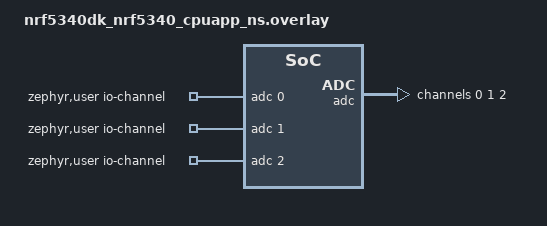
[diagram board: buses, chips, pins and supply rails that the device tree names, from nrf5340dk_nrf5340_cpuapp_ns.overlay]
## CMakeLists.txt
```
#
# Copyright (c) 2018 Nordic Semiconductor
#
# SPDX-License-Identifier: LicenseRef-Nordic-5-Clause
#
cmake_minimum_required(VERSION 3.20.0)

set(DTC_OVERLAY_FILE
    "${CMAKE_CURRENT_SOURCE_DIR}/nrf5340dk_nrf5340_cpuapp_ns.overlay"
)

find_package(Zephyr REQUIRED HINTS $ENV{ZEPHYR_BASE})
project(NONE)

# NORDIC SDK APP START
target_sources(app PRIVATE
  src/main.c
  src/my_lbs.c
  src/adc.c
)

# NORDIC SDK APP END
zephyr_library_include_directories(.)
```

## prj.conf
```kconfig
#
# Copyright (c) 2018 Nordic Semiconductor
#
# SPDX-License-Identifier: LicenseRef-Nordic-5-Clause
#

# Logger module
CONFIG_LOG=y

# Button and LED library
CONFIG_DK_LIBRARY=y

# Bluetooth LE
CONFIG_BT=y
CONFIG_BT_PERIPHERAL=y
CONFIG_BT_DEVICE_NAME="MY_LBS2_VIM"

# Increase stack size for the main thread and System Workqueue
CONFIG_SYSTEM_WORKQUEUE_STACK_SIZE=2048
CONFIG_MAIN_STACK_SIZE=2048

CONFIG_ADC=y
```

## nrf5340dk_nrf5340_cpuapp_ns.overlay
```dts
// To get started, press Ctrl+Space to bring up the completion menu and view the available nodes.

// You can also use the buttons in the sidebar to perform actions on nodes.
// Actions currently available include:

// * Enabling / disabling the node
// * Adding the bus to a bus
// * Removing the node
// * Connecting ADC channels

// For more help, browse the DeviceTree documentation at https://docs.zephyrproject.org/latest/guides/dts/index.html
// You can also visit the nRF DeviceTree extension documentation at https://nrfconnect.github.io/vscode-nrf-connect/devicetree/nrfdevicetree.html


/{
	zephyr,user {
		io-channels = <&adc 0>, <&adc 1>, <&adc 2>;
	};
};



&adc {
	status = "okay";
	#address-cells = <1>;
	#size-cells = <0>;

	channel@0 {
		reg = <0>;
		zephyr,gain = "ADC_GAIN_1_6";
		zephyr,reference = "ADC_REF_INTERNAL";
		zephyr,acquisition-time = <ADC_ACQ_TIME_DEFAULT>;
		zephyr,input-positive = <NRF_SAADC_AIN0>; /* P0.03 */
		zephyr,resolution = <12>;
	};

	channel@1 {
		reg = <1>;
		zephyr,gain = "ADC_GAIN_1_6";
		zephyr,reference = "ADC_REF_INTERNAL";
		zephyr,acquisition-time = <ADC_ACQ_TIME_DEFAULT>;
		zephyr,input-positive = <NRF_SAADC_AIN1>;
		zephyr,resolution = <12>;
		//zephyr,oversampling = <8>;
	};

	channel@2 {
		reg = <2>;
		zephyr,gain = "ADC_GAIN_1_6";
		zephyr,reference = "ADC_REF_INTERNAL";
		zephyr,acquisition-time = <ADC_ACQ_TIME_DEFAULT>;
		zephyr,input-positive = <NRF_SAADC_AIN2>;
		zephyr,resolution = <12>;
		//zephyr,oversampling = <8>;
	};


};
```

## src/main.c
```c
/*
 * Copyright (c) 2023 Nordic Semiconductor ASA
 *
 * SPDX-License-Identifier: LicenseRef-Nordic-5-Clause
 */
#include <zephyr/device.h>
#include <zephyr/devicetree.h>
#include <zephyr/kernel.h>
#include <zephyr/logging/log.h>
#include <zephyr/bluetooth/bluetooth.h>
#include <zephyr/bluetooth/gap.h>
#include <zephyr/bluetooth/uuid.h>
#include <zephyr/bluetooth/conn.h>
#include <dk_buttons_and_leds.h>
#include "my_lbs.h"
#include "adc.h"


static const struct bt_le_adv_param *adv_param = BT_LE_ADV_PARAM(
	(BT_LE_ADV_OPT_CONN |
	 BT_LE_ADV_OPT_USE_IDENTITY), /* Connectable advertising and use identity address */
	800, /* Min Advertising Interval 500ms (800*0.625ms) */
	801, /* Max Advertising Interval 500.625ms (801*0.625ms) */
	NULL); /* Set to NULL for undirected advertising */

LOG_MODULE_REGISTER(Lesson4_Exercise2, LOG_LEVEL_INF);

#define DEVICE_NAME CONFIG_BT_DEVICE_NAME
#define DEVICE_NAME_LEN (sizeof(DEVICE_NAME) - 1)

#define RUN_STATUS_LED DK_LED1
#define CON_STATUS_LED DK_LED2
#define USER_LED DK_LED3
#define USER_BUTTON DK_BTN1_MSK

#define STACKSIZE 1024
#define PRIORITY 7

#define RUN_LED_BLINK_INTERVAL 1000
/* STEP 17 - Define the interval at which you want to send data at */
#define NOTIFY_INTERVAL 500

#define USER_BUTTON_2           DK_BTN2_MSK
#define USER_BUTTON_3           DK_BTN3_MSK

static bool button_3_pressed = false;
int kerta = 0;
struct SensorData sensor_data;
static bool app_button_state;
static struct k_work adv_work;
/* STEP 15 - Define the data you want to stream over Bluetooth LE */
static uint32_t app_sensor_value = 100;

static const struct bt_data ad[] = {
	BT_DATA_BYTES(BT_DATA_FLAGS, (BT_LE_AD_GENERAL | BT_LE_AD_NO_BREDR)),
	BT_DATA(BT_DATA_NAME_COMPLETE, DEVICE_NAME, DEVICE_NAME_LEN),

};

static const struct bt_data sd[] = {
	BT_DATA_BYTES(BT_DATA_UUID128_ALL, BT_UUID_LBS_VAL),
};

static void adv_work_handler(struct k_work *work)
{
	int err = bt_le_adv_start(adv_param, ad, ARRAY_SIZE(ad), sd, ARRAY_SIZE(sd));

	if (err) {
		printk("Advertising failed to start (err %d)\n", err);
		return;
	}

	printk("Advertising successfully started\n");
}
static void advertising_start(void)
{
	k_work_submit(&adv_work);
}
static void recycled_cb(void)
{
	printk("Connection object available from previous conn. Disconnect is complete!\n");
	advertising_start();
}
/* STEP 16 - Define a function to simulate the data */
static void simulate_data(void)
{

	struct Measurement m = readADCValue();
	sensor_data.x = m.x;
	sensor_data.y = m.y;
	sensor_data.z = m.z;
	sensor_data.suunta = 0; // Initialize to a default value
	printk("x = %d,  y = %d,  z = %d\n",m.x,m.y,m.z);
	printk("Simulated sensor value: %d\n", app_sensor_value);
*/
}
static void app_led_cb(bool led_state)
{
	dk_set_led(USER_LED, led_state);
}

static bool app_button_cb(void)
{
	return app_button_state;
}

/* STEP 18.1 - Define the thread function  */
void send_data_thread(void)
{
	while (1){
		if (button_3_pressed){
			/* Simulate data */
			simulate_data();
			/* Send notification, the function sends notifications only if a client is subscribed */
			my_lbs_send_sensor_notify(sensor_data);

			k_sleep(K_MSEC(NOTIFY_INTERVAL));
			kerta++;
			printk("kerta: %d\n", kerta);
			if (kerta >= 100){
				button_3_pressed = false;
				kerta = 0;
			}
		}
		else{
			k_sleep(K_MSEC(100));
		}
	}
}

static struct my_lbs_cb app_callbacks = {
	.led_cb = app_led_cb,
	.button_cb = app_button_cb,
};

static void button_changed(uint32_t button_state, uint32_t has_changed)
{
	if (has_changed & USER_BUTTON) {
		uint32_t user_button_state = button_state & USER_BUTTON;
		/* STEP 6 - Send indication on a button press */
		my_lbs_send_button_state_indicate(user_button_state);
		app_button_state = user_button_state ? true : false;
	}

	if ((has_changed & USER_BUTTON_2) && (button_state & USER_BUTTON_2)) 
	{
		printk("Nappi 2 alhaalla\n");
		sensor_data.suunta++;
		if (sensor_data.suunta > 5)
		{
			sensor_data.suunta = 0;
		}

		printk("suunta arvo: %d\n", sensor_data.suunta);
	}		
	
	if ((has_changed & USER_BUTTON_3) && (button_state & USER_BUTTON_3)) 
	{
		printk("Nappi 3 alhaalla\n");
		button_3_pressed = true;

	}		

}
static void on_connected(struct bt_conn *conn, uint8_t err)
{
	if (err) {
		printk("Connection failed (err %u)\n", err);
		return;
	}

	printk("Connected\n");

	dk_set_led_on(CON_STATUS_LED);
}

static void on_disconnected(struct bt_conn *conn, uint8_t reason)
{
	printk("Disconnected (reason %u)\n", reason);

	dk_set_led_off(CON_STATUS_LED);
}

struct bt_conn_cb connection_callbacks = {
	.connected = on_connected,
	.disconnected = on_disconnected,
	.recycled = recycled_cb,
};

static int init_button(void)
{
	int err;

	err = dk_buttons_init(button_changed);
	if (err) {
		printk("Cannot init buttons (err: %d)\n", err);
	}

	return err;
}

int main(void)
{
	int blink_status = 0;
	int err;
	printk("Starting Bluetooth LBS example........\n");
	LOG_INF("Starting Lesson 4 - Exercise 2 \n");

	


	if(initializeADC() != 0)
	{
		printk("ADC initialization failed!");
		return 0;
	}
	
	err = dk_leds_init();
	if (err) {
		LOG_ERR("LEDs init failed (err %d)\n", err);
		return -1;
	}

	err = init_button();
	if (err) {
		printk("Button init failed (err %d)\n", err);
		return -1;
	}

	err = bt_enable(NULL);
	if (err) {
		LOG_ERR("Bluetooth init failed (err %d)\n", err);
		return -1;
	}
	bt_conn_cb_register(&connection_callbacks);

	err = my_lbs_init(&app_callbacks);
	if (err) {
		printk("Failed to init LBS (err:%d)\n", err);
		return -1;
	}
	LOG_INF("Bluetooth initialized\n");
	k_work_init(&adv_work, adv_work_handler);
	advertising_start();
	for (;;) {
		dk_set_led(RUN_STATUS_LED, (++blink_status) % 2);
		k_sleep(K_MSEC(RUN_LED_BLINK_INTERVAL));
	}
}
/* STEP 18.2 - Define and initialize a thread to send data periodically */
K_THREAD_DEFINE(send_data_thread_id, STACKSIZE, send_data_thread, NULL, NULL, NULL, PRIORITY, 0, 0);
```

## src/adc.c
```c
#include <zephyr/device.h>
#include <zephyr/devicetree.h>
#include <zephyr/drivers/adc.h>
#include <hal/nrf_saadc.h>
#include <zephyr/kernel.h>
#include <zephyr/sys/printk.h>
#include <zephyr/sys/util.h>
#include <zephyr/sys/printk.h>
#include "adc.h"

#if !DT_NODE_EXISTS(DT_PATH(zephyr_user)) || \
	!DT_NODE_HAS_PROP(DT_PATH(zephyr_user), io_channels)
#error "No suitable devicetree overlay specified"
#endif

#define DT_SPEC_AND_COMMA(node_id, prop, idx) \
	ADC_DT_SPEC_GET_BY_IDX(node_id, idx),

static const struct adc_dt_spec adc_channels[] = {
	DT_FOREACH_PROP_ELEM(DT_PATH(zephyr_user), io_channels,
			     DT_SPEC_AND_COMMA)
};





void printDebugInfo(void)
{
   printk("printing first adc_dt_spec structure contents for all channels\n");
   for(int i = 0;i<3;i++)
   {
   printk("adc_dt_spec structure, channel %d = \n",i);
   printk("Device pointer = %p\n",adc_channels[1].dev);
   printk("Channel Id = %d\n",adc_channels[i].channel_id);
   printk("Voltage reference = %d\n",adc_channels[i].vref_mv);
   printk("Resolution = %d\n",adc_channels[i].resolution);
   printk("Oversampling = %d\n",adc_channels[i].oversampling);
   printk("\n\n");
   }

}

int initializeADC(void)
{

    int err;
	
	for (size_t i = 0U; i < ARRAY_SIZE(adc_channels); i++) {
		if (!device_is_ready(adc_channels[i].dev)) {
			printk("ADC controller device not ready\n");
			return -1;
		}

		err = adc_channel_setup_dt(&adc_channels[i]);
		if (err < 0) {
			printk("Could not setup channel #%d (%d)\n", i, err);
			return -1;
		}
	}

    return 0;

}

struct Measurement readADCValue(void)
{
	int16_t buf;
    struct Measurement m;
    struct adc_sequence sequence = {
	  .buffer = &buf,

	  .buffer_size = sizeof(buf),
    };

    printk("ADC reading:\n");
	for (size_t i = 0U; i < ARRAY_SIZE(adc_channels); i++) 
    {
		int err;
        int32_t val_mv;
        // For debug use... 
		/*
        printk("- %s, channel %d: ",
		       adc_channels[i].dev->name,
		       adc_channels[i].channel_id);
        */

		(void)adc_sequence_init_dt(&adc_channels[i], &sequence);

		err = adc_read(adc_channels[i].dev, &sequence);
		if (err < 0) {
			printk("Could not read (%d)\n", err);
			continue;
		} else {
            if(i==0)
            {
                m.x = val_mv;
            }
            else if (i==1)
            {
               m.y = val_mv;
            }
            else if (i==2)
            {
                m.z = val_mv;
            }           
			//printk("%"PRId16, buf);
		}

		
		val_mv = buf;
		err = adc_raw_to_millivolts_dt(&adc_channels[i],&val_mv);
		if (err < 0) 
        {
			printk(" (value in mV not available)\n");
		} 
        else 
        {
			if(i==0)
            {
                m.x = val_mv;
            }
            else if (i==1)
            {
               m.y = val_mv;
            }
            else if (i==2)
            {
                m.z = val_mv;
            }           
            //printk(" = %"PRId32" mV\n", val_mv);
		}
	}
    return m;
}
```

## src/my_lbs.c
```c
/*
 * Copyright (c) 2018 Nordic Semiconductor ASA
 *
 * SPDX-License-Identifier: LicenseRef-Nordic-5-Clause
 */

/** @file
 *  @brief LED Button Service (LBS) sample
 */

#include <zephyr/types.h>
#include <stddef.h>
#include <string.h>
#include <errno.h>
#include <zephyr/sys/printk.h>
#include <zephyr/sys/byteorder.h>
#include <zephyr/kernel.h>
#include <zephyr/logging/log.h>
#include <zephyr/bluetooth/bluetooth.h>
#include <zephyr/bluetooth/hci.h>
#include <zephyr/bluetooth/conn.h>
#include <zephyr/bluetooth/uuid.h>
#include <zephyr/bluetooth/gatt.h>

#include "my_lbs.h"

LOG_MODULE_DECLARE(Lesson4_Exercise2);

static bool notify_mysensor_enabled;
static bool indicate_enabled;
static bool button_state;
static struct my_lbs_cb lbs_cb;

/* STEP 4 - Define an indication parameter */
static struct bt_gatt_indicate_params ind_params;

/* STEP 3 - Implement the configuration change callback function */
static void mylbsbc_ccc_cfg_changed(const struct bt_gatt_attr *attr, uint16_t value)
{
	indicate_enabled = (value == BT_GATT_CCC_INDICATE);
}

/* STEP 13 - Define the configuration change callback function for the MYSENSOR characteristic */
static void mylbsbc_ccc_mysensor_cfg_changed(const struct bt_gatt_attr *attr, uint16_t value)
{
	notify_mysensor_enabled = (value == BT_GATT_CCC_NOTIFY);
}

// This function is called when a remote device has acknowledged the indication at its host layer
static void indicate_cb(struct bt_conn *conn, struct bt_gatt_indicate_params *params, uint8_t err)
{
	LOG_DBG("Indication %s\n", err != 0U ? "fail" : "success");
}
static ssize_t write_led(struct bt_conn *conn, const struct bt_gatt_attr *attr, const void *buf,
			 uint16_t len, uint16_t offset, uint8_t flags)
{
	LOG_DBG("Attribute write, handle: %u, conn: %p", attr->handle, (void *)conn);

	if (len != 1U) {
		LOG_DBG("Write led: Incorrect data length");
		return BT_GATT_ERR(BT_ATT_ERR_INVALID_ATTRIBUTE_LEN);
	}

	if (offset != 0) {
		LOG_DBG("Write led: Incorrect data offset");
		return BT_GATT_ERR(BT_ATT_ERR_INVALID_OFFSET);
	}

	if (lbs_cb.led_cb) {
		// Read the received value
		uint8_t val = *((uint8_t *)buf);

		if (val == 0x00 || val == 0x01) {
			// Call the application callback function to update the LED state
			lbs_cb.led_cb(val ? true : false);
		} else {
			LOG_DBG("Write led: Incorrect value");
			return BT_GATT_ERR(BT_ATT_ERR_VALUE_NOT_ALLOWED);
		}
	}

	return len;
}

static ssize_t read_button(struct bt_conn *conn, const struct bt_gatt_attr *attr, void *buf,
			   uint16_t len, uint16_t offset)
{
	// get a pointer to button_state which is passed in the BT_GATT_CHARACTERISTIC() and stored in attr->user_data
	const char *value = attr->user_data;

	LOG_DBG("Attribute read, handle: %u, conn: %p", attr->handle, (void *)conn);

	if (lbs_cb.button_cb) {
		// Call the application callback function to update the get the current value of the button
		button_state = lbs_cb.button_cb();
		return bt_gatt_attr_read(conn, attr, buf, len, offset, value, sizeof(*value));
	}

	return 0;
}

/* LED Button Service Declaration */
BT_GATT_SERVICE_DEFINE(
	my_lbs_svc, BT_GATT_PRIMARY_SERVICE(BT_UUID_LBS),
	/* STEP 1 - Modify the Button characteristic declaration to support indication */
	BT_GATT_CHARACTERISTIC(BT_UUID_LBS_BUTTON, BT_GATT_CHRC_READ | BT_GATT_CHRC_INDICATE,
			       BT_GATT_PERM_READ, read_button, NULL, &button_state),
	/* STEP 2 - Create and add the Client Characteristic Configuration Descriptor */
	BT_GATT_CCC(mylbsbc_ccc_cfg_changed, BT_GATT_PERM_READ | BT_GATT_PERM_WRITE),

	BT_GATT_CHARACTERISTIC(BT_UUID_LBS_LED, BT_GATT_CHRC_WRITE, BT_GATT_PERM_WRITE, NULL,
			       write_led, NULL),
	/* STEP 12 - Create and add the MYSENSOR characteristic and its CCCD  */
	BT_GATT_CHARACTERISTIC(BT_UUID_LBS_MYSENSOR, BT_GATT_CHRC_NOTIFY, BT_GATT_PERM_NONE, NULL,
			       NULL, NULL),

	BT_GATT_CCC(mylbsbc_ccc_mysensor_cfg_changed, BT_GATT_PERM_READ | BT_GATT_PERM_WRITE),

);
/* A function to register application callbacks for the LED and Button characteristics  */
int my_lbs_init(struct my_lbs_cb *callbacks)
{
	if (callbacks) {
		lbs_cb.led_cb = callbacks->led_cb;
		lbs_cb.button_cb = callbacks->button_cb;
	}

	return 0;
}

/* STEP 5 - Define the function to send indications */
int my_lbs_send_button_state_indicate(bool button_state)
{
	if (!indicate_enabled) {
		return -EACCES;
	}
	ind_params.attr = &my_lbs_svc.attrs[2];
	ind_params.func = indicate_cb; // A remote device has ACKed at its host layer (ATT ACK)
	ind_params.destroy = NULL;
	ind_params.data = &button_state;
	ind_params.len = sizeof(button_state);
	return bt_gatt_indicate(NULL, &ind_params);
}

/* STEP 14 - Define the function to send notifications for the MYSENSOR characteristic */
/*int my_lbs_send_sensor_notify(uint32_t sensor_value)
{
	if (!notify_mysensor_enabled) {
		return -EACCES;
	}

	return bt_gatt_notify(NULL, &my_lbs_svc.attrs[7], &sensor_value, sizeof(sensor_value));
}*/

int my_lbs_send_sensor_notify(struct SensorData sensor_data)
{
	if (!notify_mysensor_enabled) {
		return -EACCES;
	}

	return bt_gatt_notify(NULL, &my_lbs_svc.attrs[7], &sensor_data, sizeof(sensor_data));
}
```

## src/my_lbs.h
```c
/*
 * Copyright (c) 2018 Nordic Semiconductor ASA
 *
 * SPDX-License-Identifier: LicenseRef-Nordic-5-Clause
 */

#ifndef BT_LBS_H_
#define BT_LBS_H_

/**@file
 * @defgroup bt_lbs LED Button Service API
 * @{
 * @brief API for the LED Button Service (LBS).
 */

#ifdef __cplusplus
extern "C" {
#endif

#include <zephyr/types.h>

/** @brief LBS Service UUID. */
#define BT_UUID_LBS_VAL BT_UUID_128_ENCODE(0x00001523, 0x1212, 0xefde, 0x1523, 0x785feabcd123)

/** @brief Button Characteristic UUID. */
#define BT_UUID_LBS_BUTTON_VAL                                                                     \
	BT_UUID_128_ENCODE(0x00001524, 0x1212, 0xefde, 0x1523, 0x785feabcd123)

/** @brief LED Characteristic UUID. */
#define BT_UUID_LBS_LED_VAL BT_UUID_128_ENCODE(0x00001525, 0x1212, 0xefde, 0x1523, 0x785feabcd123)

/* STEP 11.1 - Assign a UUID to the MYSENSOR characteristic */
/** @brief LED Characteristic UUID. */
#define BT_UUID_LBS_MYSENSOR_VAL                                                                   \
	BT_UUID_128_ENCODE(0x00001526, 0x1212, 0xefde, 0x1523, 0x785feabcd123)

#define BT_UUID_LBS BT_UUID_DECLARE_128(BT_UUID_LBS_VAL)
#define BT_UUID_LBS_BUTTON BT_UUID_DECLARE_128(BT_UUID_LBS_BUTTON_VAL)
#define BT_UUID_LBS_LED BT_UUID_DECLARE_128(BT_UUID_LBS_LED_VAL)
/* STEP 11.2 - Convert the array to a generic UUID */
#define BT_UUID_LBS_MYSENSOR BT_UUID_DECLARE_128(BT_UUID_LBS_MYSENSOR_VAL)

struct SensorData
{
   uint16_t x;
   uint16_t y;
   uint16_t z;
   uint16_t suunta;
};


/** @brief Callback type for when an LED state change is received. */
typedef void (*led_cb_t)(const bool led_state);

/** @brief Callback type for when the button state is pulled. */
typedef bool (*button_cb_t)(void);

/** @brief Callback struct used by the LBS Service. */
struct my_lbs_cb {
	/** LED state change callback. */
	led_cb_t led_cb;
	/** Button read callback. */
	button_cb_t button_cb;
};

/** @brief Initialize the LBS Service.
 *
 * This function registers application callback functions with the My LBS
 * Service
 *
 * @param[in] callbacks Struct containing pointers to callback functions
 *			used by the service. This pointer can be NULL
 *			if no callback functions are defined.
 *
 *
 * @retval 0 If the operation was successful.
 *           Otherwise, a (negative) error code is returned.
 */
int my_lbs_init(struct my_lbs_cb *callbacks);

/** @brief Send the button state as indication.
 *
 * This function sends a binary state, typically the state of a
 * button, to all connected peers.
 *
 * @param[in] button_state The state of the button.
 *
 * @retval 0 If the operation was successful.
 *           Otherwise, a (negative) error code is returned.
 */
int my_lbs_send_button_state_indicate(bool button_state);

/** @brief Send the button state as notification.
 *
 * This function sends a binary state, typically the state of a
 * button, to all connected peers.
 *
 * @param[in] button_state The state of the button.
 *
 * @retval 0 If the operation was successful.
 *           Otherwise, a (negative) error code is returned.
 */
int my_lbs_send_button_state_notify(bool button_state);

/** @brief Send the sensor value as notification.
 *
 * This function sends an uint32_t  value, typically the value
 * of a simulated sensor to all connected peers.
 *
 * @param[in] sensor_value The value of the simulated sensor.
 *
 * @retval 0 If the operation was successful.
 *           Otherwise, a (negative) error code is returned.
 */
int my_lbs_send_sensor_notify(struct SensorData sensor_data);

#ifdef __cplusplus
}
#endif

/**
 * @}
 */

#endif /* BT_LBS_H_ */
```
